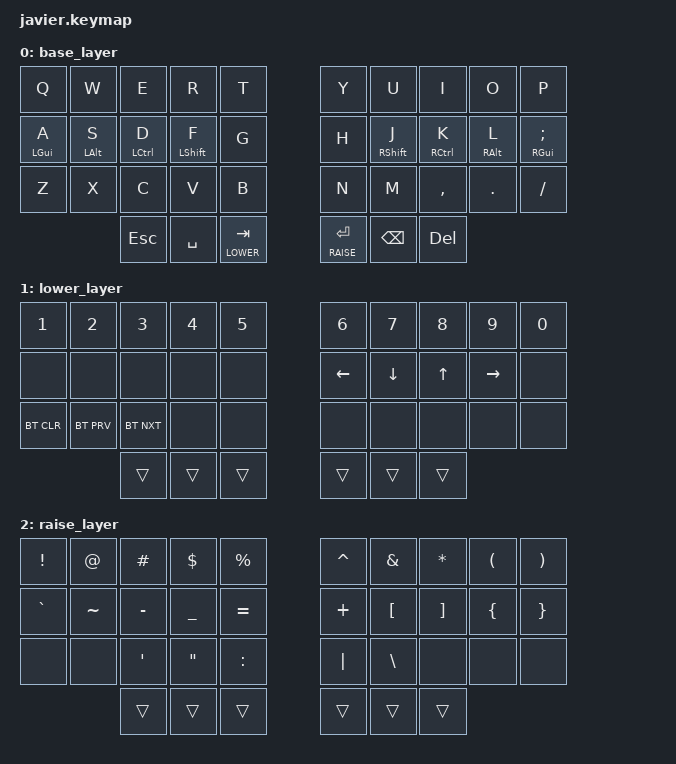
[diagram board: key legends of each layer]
// A plain QWERTY starting point. Make it your own:
// https://zmk.dev/docs/keymaps

#include <behaviors.dtsi>
#include <dt-bindings/zmk/keys.h>
#include <dt-bindings/zmk/bt.h>

#define BASE  0
#define LOWER 1
#define RAISE 2

/ {
    behaviors {
        // Tap for the key, hold for the modifier
        hm: home_row_mod {
            compatible = "zmk,behavior-hold-tap";
            #binding-cells = <2>;
            flavor = "balanced";
            tapping-term-ms = <200>;
            bindings = <&kp>, <&kp>;
        };
    };

    keymap {
        compatible = "zmk,keymap";

        base_layer {
            bindings = <
            &kp Q        &kp W        &kp E         &kp R         &kp T      &kp Y      &kp U         &kp I         &kp O        &kp P
            &hm LGUI A   &hm LALT S   &hm LCTRL D   &hm LSHFT F   &kp G      &kp H      &hm RSHFT J   &hm RCTRL K   &hm RALT L   &hm RGUI SEMI
            &kp Z        &kp X        &kp C         &kp V         &kp B      &kp N      &kp M         &kp COMMA     &kp DOT      &kp FSLH
                                      &kp ESC       &kp SPACE     &lt LOWER TAB      &lt RAISE RET &kp BSPC      &kp DEL
            >;
        };

        // Hold Tab: numbers, arrows and Bluetooth
        lower_layer {
            bindings = <
            &kp N1       &kp N2       &kp N3        &kp N4        &kp N5     &kp N6     &kp N7        &kp N8        &kp N9       &kp N0
            &none        &none        &none         &none         &none      &kp LEFT   &kp DOWN      &kp UP        &kp RIGHT    &none
            &bt BT_CLR   &bt BT_PRV   &bt BT_NXT    &none         &none      &none      &none         &none         &none        &none
                                      &trans        &trans        &trans     &trans     &trans        &trans
            >;
        };

        // Hold Enter: symbols
        raise_layer {
            bindings = <
            &kp EXCL     &kp AT       &kp HASH      &kp DLLR      &kp PRCNT  &kp CARET  &kp AMPS      &kp STAR      &kp LPAR     &kp RPAR
            &kp GRAVE    &kp TILDE    &kp MINUS     &kp UNDER     &kp EQUAL  &kp PLUS   &kp LBKT      &kp RBKT      &kp LBRC     &kp RBRC
            &none        &none        &kp SQT       &kp DQT       &kp COLON  &kp PIPE   &kp BSLH      &none         &none        &none
                                      &trans        &trans        &trans     &trans     &trans        &trans
            >;
        };
    };
};
